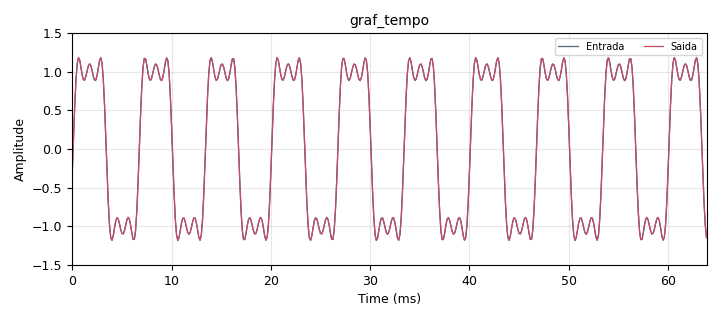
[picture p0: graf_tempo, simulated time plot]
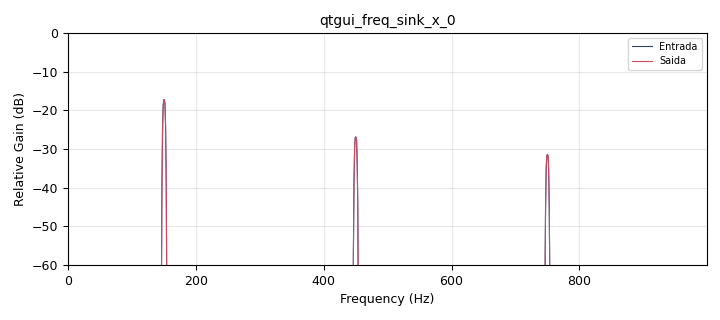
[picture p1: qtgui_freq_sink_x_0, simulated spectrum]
<?xml version='1.0' encoding='utf-8'?>
<?grc format='1' created='3.7.13'?>
<flow_graph>
<block>
<key>options</key>
<param><key>id</key><value>Labo1_3</value></param>
<param><key>author</key><value>Leocarlos Bezerra da Silva Lima</value></param>
<param><key>category</key><value>Custom</value></param>
<param><key>description</key><value>Experimento para Laboratório de Princípios de Comunicações. Departamento de Engenharia Elétrica - DEE da Universidade Federal de Campina Grande - UFCG.</value></param>
<param><key>generate_options</key><value>qt_gui</value></param>
<param><key>title</key><value>Distorcao de sinais em canais de comunicacao</value></param>
</block>
<block>
<key>variable_qtgui_range</key>
<param><key>id</key><value>a1</value></param>
<param><key>value</key><value>1</value></param>
<param><key>gui_hint</key><value>Tab@0: [0,0,1,2]</value></param>
<param><key>label</key><value>Componente harmonico #1</value></param>
<param><key>orient</key><value>Qt.Horizontal</value></param>
<param><key>start</key><value>0</value></param>
<param><key>step</key><value>0.1</value></param>
<param><key>stop</key><value>2</value></param>
</block>
<block>
<key>variable_qtgui_range</key>
<param><key>id</key><value>a2</value></param>
<param><key>value</key><value>1</value></param>
<param><key>gui_hint</key><value>Tab@0: [1,0,1,2]</value></param>
<param><key>label</key><value>Componente harmonico #3</value></param>
<param><key>orient</key><value>Qt.Horizontal</value></param>
<param><key>start</key><value>0</value></param>
<param><key>step</key><value>0.1</value></param>
<param><key>stop</key><value>2</value></param>
</block>
<block>
<key>variable_qtgui_range</key>
<param><key>id</key><value>a3</value></param>
<param><key>value</key><value>1</value></param>
<param><key>gui_hint</key><value>Tab@0: [2,0,1,2]</value></param>
<param><key>label</key><value>Componente harmonico #5</value></param>
<param><key>orient</key><value>Qt.Horizontal</value></param>
<param><key>start</key><value>0</value></param>
<param><key>step</key><value>0.1</value></param>
<param><key>stop</key><value>2</value></param>
</block>
<block>
<key>variable</key>
<param><key>id</key><value>f0</value></param>
<param><key>value</key><value>150</value></param>
</block>
<block>
<key>variable</key>
<param><key>id</key><value>samp_rate</value></param>
<param><key>value</key><value>8000</value></param>
</block>
<block>
<key>variable_qtgui_range</key>
<param><key>id</key><value>theta1</value></param>
<param><key>value</key><value>0</value></param>
<param><key>gui_hint</key><value>Tab@1: [0,0,1,2]</value></param>
<param><key>label</key><value>Componente harmonico #1</value></param>
<param><key>min_len</key><value>100</value></param>
<param><key>orient</key><value>Qt.Horizontal</value></param>
<param><key>start</key><value>0</value></param>
<param><key>step</key><value>500</value></param>
<param><key>stop</key><value>20000</value></param>
</block>
<block>
<key>variable_qtgui_range</key>
<param><key>id</key><value>theta2</value></param>
<param><key>value</key><value>0</value></param>
<param><key>gui_hint</key><value>Tab@1: [2,0,1,2]</value></param>
<param><key>label</key><value>Componente harmonico #3</value></param>
<param><key>orient</key><value>Qt.Horizontal</value></param>
<param><key>start</key><value>0</value></param>
<param><key>step</key><value>500</value></param>
<param><key>stop</key><value>20000</value></param>
</block>
<block>
<key>variable_qtgui_range</key>
<param><key>id</key><value>theta3</value></param>
<param><key>value</key><value>0</value></param>
<param><key>gui_hint</key><value>Tab@1: [3,0,1,2]</value></param>
<param><key>label</key><value>Componente harmonico #5</value></param>
<param><key>orient</key><value>Qt.Horizontal</value></param>
<param><key>start</key><value>0</value></param>
<param><key>step</key><value>500</value></param>
<param><key>stop</key><value>20000</value></param>
</block>
<block>
<key>blocks_multiply_const_vxx</key>
<param><key>id</key><value>A1</value></param>
<param><key>alias</key><value>A1</value></param>
<param><key>const</key><value>a1</value></param>
<param><key>type</key><value>float</value></param>
</block>
<block>
<key>qtgui_tab_widget</key>
<param><key>id</key><value>Tab</value></param>
<param><key>gui_hint</key><value>4,0,2,2</value></param>
<param><key>label0</key><value>Ganho/Atenuacao </value></param>
<param><key>label1</key><value>Deslocamento de fase</value></param>
<param><key>num_tabs</key><value>2</value></param>
</block>
<block>
<key>blocks_delay</key>
<param><key>id</key><value>blocks_delay_0</value></param>
<param><key>delay</key><value>int(theta1/(2*3.14*f0))</value></param>
<param><key>type</key><value>float</value></param>
</block>
<block>
<key>blocks_delay</key>
<param><key>id</key><value>blocks_delay_0_0</value></param>
<param><key>delay</key><value>int(theta2/(2*3.14*3*f0))</value></param>
<param><key>type</key><value>float</value></param>
</block>
<block>
<key>blocks_delay</key>
<param><key>id</key><value>blocks_delay_0_1</value></param>
<param><key>delay</key><value>int(theta3/(2*3.14*5*f0))</value></param>
<param><key>type</key><value>float</value></param>
</block>
<block>
<key>blocks_multiply_const_vxx</key>
<param><key>id</key><value>blocks_multiply_const_vxx_0_0</value></param>
<param><key>const</key><value>a2</value></param>
<param><key>type</key><value>float</value></param>
</block>
<block>
<key>blocks_multiply_const_vxx</key>
<param><key>id</key><value>blocks_multiply_const_vxx_0_1</value></param>
<param><key>const</key><value>a3</value></param>
<param><key>type</key><value>float</value></param>
</block>
<block>
<key>blocks_throttle</key>
<param><key>id</key><value>blocks_throttle_0</value></param>
<param><key>samples_per_second</key><value>samp_rate</value></param>
<param><key>type</key><value>float</value></param>
</block>
<block>
<key>analog_sig_source_x</key>
<param><key>id</key><value>fundamental</value></param>
<param><key>amp</key><value>1.27</value></param>
<param><key>freq</key><value>150</value></param>
<param><key>offset</key><value>0</value></param>
<param><key>type</key><value>float</value></param>
<param><key>samp_rate</key><value>samp_rate</value></param>
<param><key>waveform</key><value>analog.GR_SIN_WAVE</value></param>
</block>
<block>
<key>qtgui_time_sink_x</key>
<param><key>id</key><value>graf_tempo</value></param>
<param><key>gui_hint</key><value>0, 0, 2, 2</value></param>
<param><key>grid</key><value>True</value></param>
<param><key>color1</key><value>"blue"</value></param>
<param><key>label1</key><value>Entrada</value></param>
<param><key>color2</key><value>"red"</value></param>
<param><key>label2</key><value>Saida</value></param>
<param><key>nconnections</key><value>2</value></param>
<param><key>size</key><value>512</value></param>
<param><key>srate</key><value>samp_rate</value></param>
<param><key>tr_mode</key><value>qtgui.TRIG_MODE_AUTO</value></param>
<param><key>type</key><value>float</value></param>
<param><key>update_time</key><value>0.1</value></param>
<param><key>ymax</key><value>1.5</value></param>
<param><key>ymin</key><value>-1.5</value></param>
</block>
<block>
<key>analog_sig_source_x</key>
<param><key>id</key><value>harmonica_1</value></param>
<param><key>amp</key><value>0.42</value></param>
<param><key>freq</key><value>450</value></param>
<param><key>offset</key><value>0</value></param>
<param><key>type</key><value>float</value></param>
<param><key>samp_rate</key><value>samp_rate</value></param>
<param><key>waveform</key><value>analog.GR_SIN_WAVE</value></param>
</block>
<block>
<key>analog_sig_source_x</key>
<param><key>id</key><value>harmonica_2</value></param>
<param><key>amp</key><value>0.25</value></param>
<param><key>freq</key><value>750</value></param>
<param><key>offset</key><value>0</value></param>
<param><key>type</key><value>float</value></param>
<param><key>samp_rate</key><value>samp_rate</value></param>
<param><key>waveform</key><value>analog.GR_SIN_WAVE</value></param>
</block>
<block>
<key>qtgui_freq_sink_x</key>
<param><key>id</key><value>qtgui_freq_sink_x_0</value></param>
<param><key>bw</key><value>samp_rate/4</value></param>
<param><key>fc</key><value>0</value></param>
<param><key>fftsize</key><value>2048</value></param>
<param><key>gui_hint</key><value>0,2,2,2</value></param>
<param><key>grid</key><value>True</value></param>
<param><key>label1</key><value>Entrada</value></param>
<param><key>label2</key><value>Saida</value></param>
<param><key>nconnections</key><value>2</value></param>
<param><key>showports</key><value>True</value></param>
<param><key>freqhalf</key><value>False</value></param>
<param><key>type</key><value>float</value></param>
<param><key>wintype</key><value>firdes.WIN_FLATTOP</value></param>
<param><key>ymax</key><value>0</value></param>
<param><key>ymin</key><value>-60</value></param>
</block>
<block>
<key>rational_resampler_xxx</key>
<param><key>id</key><value>rational_resampler_xxx_0</value></param>
<param><key>decim</key><value>4</value></param>
<param><key>interp</key><value>1</value></param>
<param><key>taps</key><value></value></param>
<param><key>type</key><value>fff</value></param>
</block>
<block>
<key>rational_resampler_xxx</key>
<param><key>id</key><value>rational_resampler_xxx_0_0</value></param>
<param><key>decim</key><value>4</value></param>
<param><key>interp</key><value>1</value></param>
<param><key>taps</key><value></value></param>
<param><key>type</key><value>fff</value></param>
</block>
<block>
<key>blocks_add_xx</key>
<param><key>id</key><value>somador</value></param>
<param><key>type</key><value>float</value></param>
<param><key>num_inputs</key><value>3</value></param>
</block>
<block>
<key>blocks_add_xx</key>
<param><key>id</key><value>somador_0</value></param>
<param><key>type</key><value>float</value></param>
<param><key>num_inputs</key><value>3</value></param>
</block>
<connection><source_block_id>A1</source_block_id><sink_block_id>blocks_delay_0</sink_block_id><source_key>0</source_key><sink_key>0</sink_key></connection>
<connection><source_block_id>blocks_delay_0</source_block_id><sink_block_id>somador</sink_block_id><source_key>0</source_key><sink_key>0</sink_key></connection>
<connection><source_block_id>blocks_delay_0_0</source_block_id><sink_block_id>somador</sink_block_id><source_key>0</source_key><sink_key>1</sink_key></connection>
<connection><source_block_id>blocks_delay_0_1</source_block_id><sink_block_id>somador</sink_block_id><source_key>0</source_key><sink_key>2</sink_key></connection>
<connection><source_block_id>blocks_multiply_const_vxx_0_0</source_block_id><sink_block_id>blocks_delay_0_0</sink_block_id><source_key>0</source_key><sink_key>0</sink_key></connection>
<connection><source_block_id>blocks_multiply_const_vxx_0_1</source_block_id><sink_block_id>blocks_delay_0_1</sink_block_id><source_key>0</source_key><sink_key>0</sink_key></connection>
<connection><source_block_id>blocks_throttle_0</source_block_id><sink_block_id>A1</sink_block_id><source_key>0</source_key><sink_key>0</sink_key></connection>
<connection><source_block_id>blocks_throttle_0</source_block_id><sink_block_id>somador_0</sink_block_id><source_key>0</source_key><sink_key>0</sink_key></connection>
<connection><source_block_id>fundamental</source_block_id><sink_block_id>blocks_throttle_0</sink_block_id><source_key>0</source_key><sink_key>0</sink_key></connection>
<connection><source_block_id>harmonica_1</source_block_id><sink_block_id>blocks_multiply_const_vxx_0_0</sink_block_id><source_key>0</source_key><sink_key>0</sink_key></connection>
<connection><source_block_id>harmonica_1</source_block_id><sink_block_id>somador_0</sink_block_id><source_key>0</source_key><sink_key>1</sink_key></connection>
<connection><source_block_id>harmonica_2</source_block_id><sink_block_id>blocks_multiply_const_vxx_0_1</sink_block_id><source_key>0</source_key><sink_key>0</sink_key></connection>
<connection><source_block_id>harmonica_2</source_block_id><sink_block_id>somador_0</sink_block_id><source_key>0</source_key><sink_key>2</sink_key></connection>
<connection><source_block_id>rational_resampler_xxx_0</source_block_id><sink_block_id>qtgui_freq_sink_x_0</sink_block_id><source_key>0</source_key><sink_key>0</sink_key></connection>
<connection><source_block_id>rational_resampler_xxx_0_0</source_block_id><sink_block_id>qtgui_freq_sink_x_0</sink_block_id><source_key>0</source_key><sink_key>1</sink_key></connection>
<connection><source_block_id>somador</source_block_id><sink_block_id>graf_tempo</sink_block_id><source_key>0</source_key><sink_key>0</sink_key></connection>
<connection><source_block_id>somador</source_block_id><sink_block_id>rational_resampler_xxx_0_0</sink_block_id><source_key>0</source_key><sink_key>0</sink_key></connection>
<connection><source_block_id>somador_0</source_block_id><sink_block_id>graf_tempo</sink_block_id><source_key>0</source_key><sink_key>1</sink_key></connection>
<connection><source_block_id>somador_0</source_block_id><sink_block_id>rational_resampler_xxx_0</sink_block_id><source_key>0</source_key><sink_key>0</sink_key></connection>
</flow_graph>
